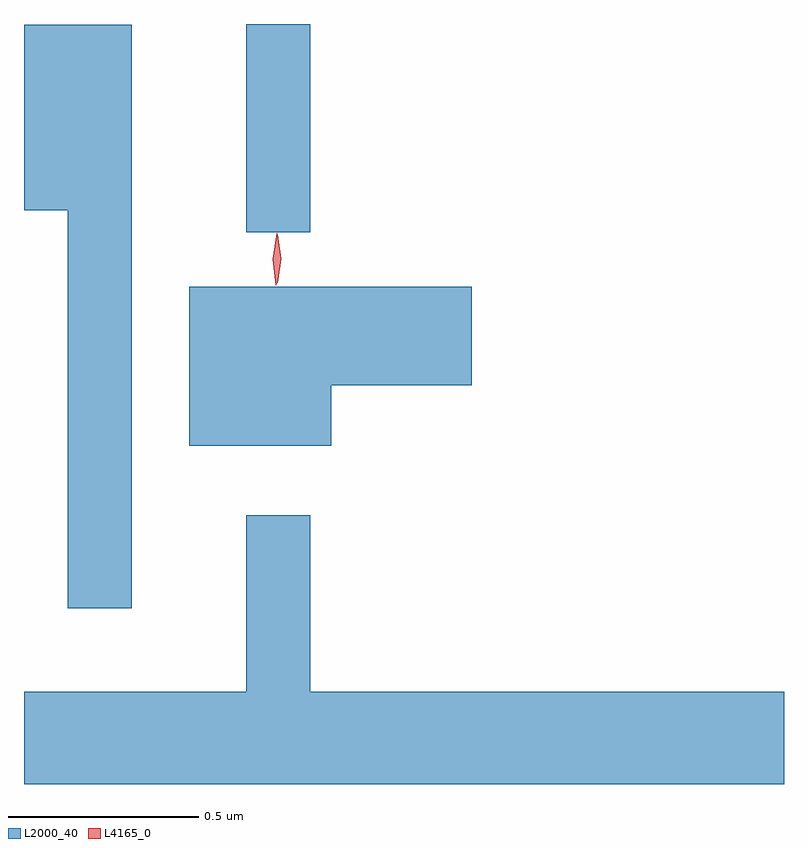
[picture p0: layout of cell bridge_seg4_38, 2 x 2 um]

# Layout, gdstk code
import gdstk
lib = gdstk.Library(unit=1e-6, precision=1e-09)
def R(c, l, rs):  # rectangles x0, y0, x1, y1
    for r in rs: c.add(gdstk.rectangle(r[:2], r[2:], *l))
def P(c, l, *ps):  # polygons
    for p in ps: c.add(gdstk.Polygon(p, *l))
L2000_40 = (2000, 40)
L4165_0 = (4165, 0)

bridge_seg4_38 = lib.new_cell('bridge_seg4_38')
R(bridge_seg4_38, L2000_40, [(1278.651,1371.693,1278.819,1372.241)])
P(bridge_seg4_38, L2000_40, [(1278.349,1372.239),(1278.066,1372.239),(1278.066,1371.751),(1278.181,1371.751),(1278.181,1370.703),(1278.349,1370.703)],
  [(1278.874,1371.291),(1279.244,1371.291),(1279.244,1371.549),(1278.501,1371.549),(1278.501,1371.131),(1278.874,1371.131)],
  [(1280.066,1370.484),(1278.819,1370.484),(1278.819,1370.948),(1278.651,1370.948),(1278.651,1370.484),(1278.066,1370.484),(1278.066,1370.241),(1280.066,1370.241)])
P(bridge_seg4_38, L4165_0, [(1278.729,1371.554),(1278.721,1371.622),(1278.731,1371.69),(1278.732,1371.69),(1278.732,1371.69),(1278.741,1371.622),(1278.73,1371.554),(1278.73,1371.554)],
  [(1278.733,1371.56),(1278.733,1371.56),(1278.723,1371.623),(1278.733,1371.686),(1278.733,1371.687),(1278.734,1371.686),(1278.743,1371.623),(1278.734,1371.56)])

lib.write_gds('bridge_seg4_38.gds')
